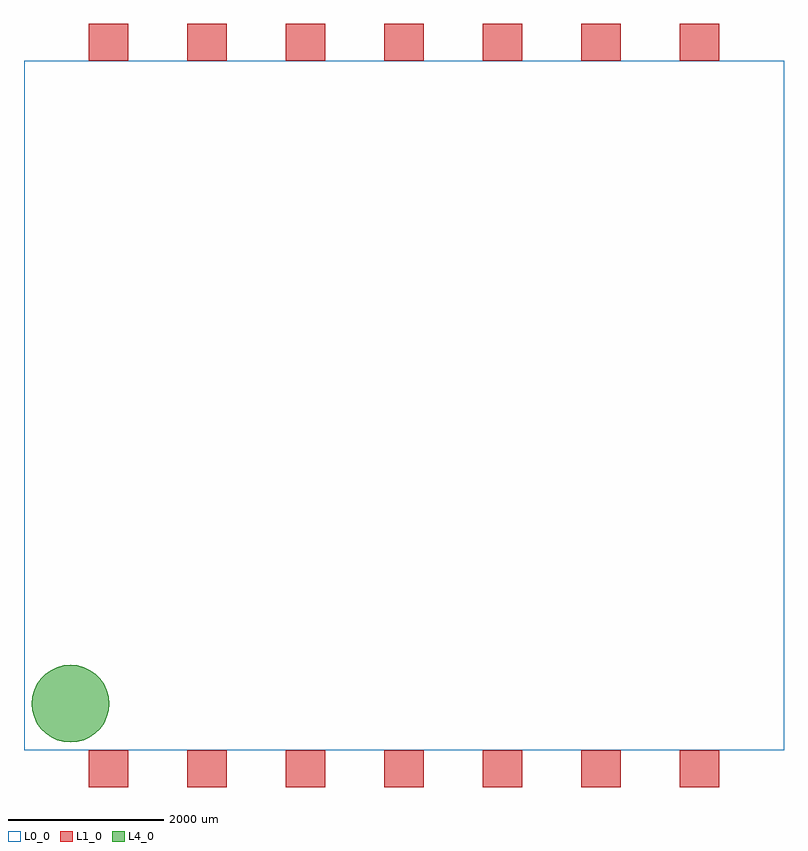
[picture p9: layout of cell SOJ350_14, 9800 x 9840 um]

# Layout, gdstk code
import gdstk
lib = gdstk.Library(unit=1e-6, precision=1e-09)
def R(c, l, rs):  # rectangles x0, y0, x1, y1
    for r in rs: c.add(gdstk.rectangle(r[:2], r[2:], *l))
def A(c, l, x, y, w, h, nx, ny, dx, dy):  # array of equal rectangles
    R(c, l, [(x+i*dx, y+j*dy, x+i*dx+w, y+j*dy+h) for i in range(nx) for j in range(ny)])
def P(c, l, *ps):  # polygons
    for p in ps: c.add(gdstk.Polygon(p, *l))
L0_0 = (0, 0)
L1_0 = (1, 0)
L4_0 = (4, 0)
L99_1 = (99, 1)
L99_2 = (99, 2)
L99_3 = (99, 3)
L99_4 = (99, 4)
L99_5 = (99, 5)
L99_6 = (99, 6)
L99_7 = (99, 7)
L99_8 = (99, 8)
L99_9 = (99, 9)
L99_10 = (99, 10)
L99_11 = (99, 11)
L99_12 = (99, 12)
L99_13 = (99, 13)
L99_14 = (99, 14)

soj350_14 = lib.new_cell('SOJ350_14')
R(soj350_14, L0_0, [(0,0,9800,8890)])
A(soj350_14, L1_0, 835, -475, 510, 475, 7, 2, 1270, 9365)
P(soj350_14, L4_0, [(1100,600),(1092.404,513.176),(1069.846,428.99),(1033.013,350),(983.022,278.606),(921.394,216.978),(850,166.987),(771.01,130.154),(686.824,107.596),(600,100),(513.176,107.596),(428.99,130.154),(350,166.987),(278.606,216.978),(216.978,278.606),(166.987,350),(130.154,428.99),(107.596,513.176),(100,600),(107.596,686.824),(130.154,771.01),(166.987,850),(216.978,921.394),(278.606,983.022),(350,1033.013),(428.99,1069.846),(513.176,1092.404),(600,1100),(686.824,1092.404),(771.01,1069.846),(850,1033.013),(921.394,983.022),(983.022,921.394),(1033.013,850),(1069.846,771.01),(1092.404,686.824)])
soj350_14.add(gdstk.FlexPath([(1345,0),(835,0)], 0, ends="round", simple_path=True, layer=99, datatype=1))  # L99_1
soj350_14.add(gdstk.FlexPath([(2615,0),(2105,0)], 0, ends="round", simple_path=True, layer=99, datatype=2))  # L99_2
soj350_14.add(gdstk.FlexPath([(3885,0),(3375,0)], 0, ends="round", simple_path=True, layer=99, datatype=3))  # L99_3
soj350_14.add(gdstk.FlexPath([(5155,0),(4645,0)], 0, ends="round", simple_path=True, layer=99, datatype=4))  # L99_4
soj350_14.add(gdstk.FlexPath([(6425,0),(5915,0)], 0, ends="round", simple_path=True, layer=99, datatype=5))  # L99_5
soj350_14.add(gdstk.FlexPath([(7695,0),(7185,0)], 0, ends="round", simple_path=True, layer=99, datatype=6))  # L99_6
soj350_14.add(gdstk.FlexPath([(8965,0),(8455,0)], 0, ends="round", simple_path=True, layer=99, datatype=7))  # L99_7
soj350_14.add(gdstk.FlexPath([(835,8890),(1345,8890)], 0, ends="round", simple_path=True, layer=99, datatype=14))  # L99_14
soj350_14.add(gdstk.FlexPath([(2105,8890),(2615,8890)], 0, ends="round", simple_path=True, layer=99, datatype=13))  # L99_13
soj350_14.add(gdstk.FlexPath([(3375,8890),(3885,8890)], 0, ends="round", simple_path=True, layer=99, datatype=12))  # L99_12
soj350_14.add(gdstk.FlexPath([(4645,8890),(5155,8890)], 0, ends="round", simple_path=True, layer=99, datatype=11))  # L99_11
soj350_14.add(gdstk.FlexPath([(5915,8890),(6425,8890)], 0, ends="round", simple_path=True, layer=99, datatype=10))  # L99_10
soj350_14.add(gdstk.FlexPath([(7185,8890),(7695,8890)], 0, ends="round", simple_path=True, layer=99, datatype=9))  # L99_9
soj350_14.add(gdstk.FlexPath([(8455,8890),(8965,8890)], 0, ends="round", simple_path=True, layer=99, datatype=8))  # L99_8

lib.write_gds('SOJ350_14.gds')
